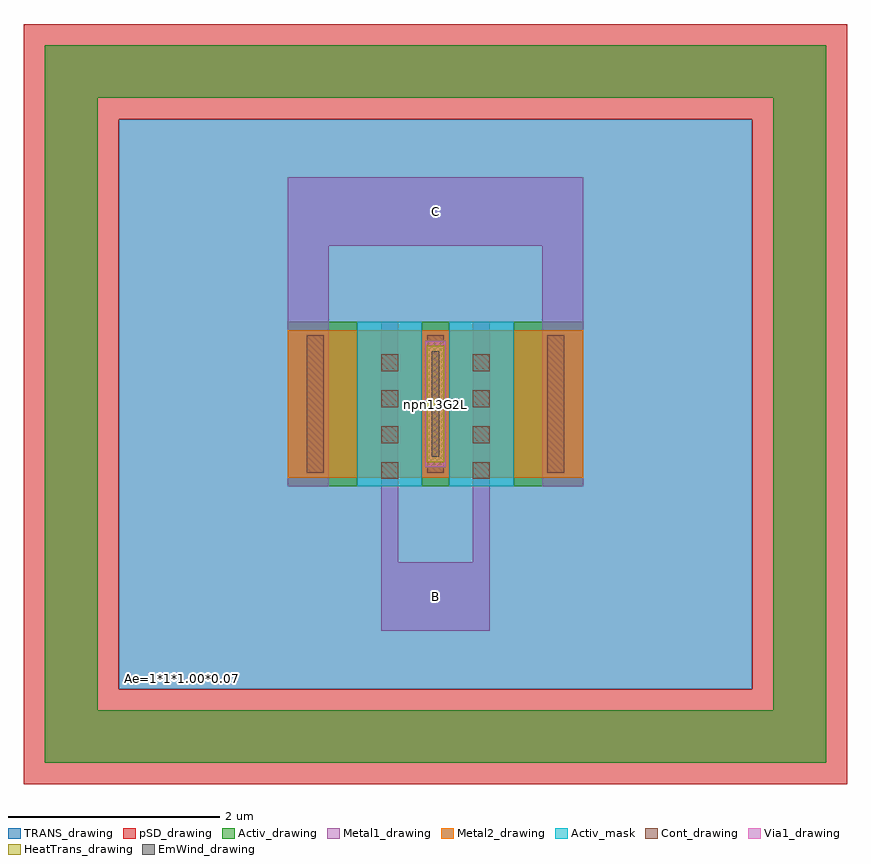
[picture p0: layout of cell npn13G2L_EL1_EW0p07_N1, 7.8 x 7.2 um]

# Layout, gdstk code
import gdstk
lib = gdstk.Library(unit=1e-6, precision=1e-09)
def R(c, l, rs):  # rectangles x0, y0, x1, y1
    for r in rs: c.add(gdstk.rectangle(r[:2], r[2:], *l))
def P(c, l, *ps):  # polygons
    for p in ps: c.add(gdstk.Polygon(p, *l))
Activ_drawing = (1, 0)
Activ_mask = (1, 20)
Cont_drawing = (6, 0)
Metal1_drawing = (8, 0)
Metal2_drawing = (10, 0)
pSD_drawing = (14, 0)
Via1_drawing = (19, 0)
TRANS_drawing = (26, 0)
EmWind_drawing = (33, 0)
HeatTrans_drawing = (51, 0)

rectangle_gdsfactorypcom = lib.new_cell('rectangle_gdsfactorypcomponentspshapesprectangle_S0p07__22f8efe0')
R(rectangle_gdsfactorypcom, EmWind_drawing, [(0,0,0.07,1)])

c_rectangle_gdsfactorypcom = lib.new_cell('rectangle_gdsfactorypcomponentspshapesprectangle_S0p17__d8567825')
R(c_rectangle_gdsfactorypcom, HeatTrans_drawing, [(0,0,0.17,1.1)])

c_rectangle_gdsfactorypcom_ = lib.new_cell('rectangle_gdsfactorypcomponentspshapesprectangle_S0p19__a97d2b67')
R(c_rectangle_gdsfactorypcom_, Via1_drawing, [(0,0,0.19,1.2)])

c_rectangle_gdsfactorypcom__ = lib.new_cell('rectangle_gdsfactorypcomponentspshapesprectangle_S0p61__3fa70da6')
R(c_rectangle_gdsfactorypcom__, Activ_mask, [(0,0,0.61,1.56)])

unnamed_220 = lib.new_cell('Unnamed_220')
R(unnamed_220, Activ_mask, [(3.16,2.82,3.77,4.38), (4.03,2.82,4.64,4.38)])

unnamed_221 = lib.new_cell('Unnamed_221')
R(unnamed_221, Activ_drawing, [(2.5,2.82,3.16,4.38), (3.77,2.82,4.03,4.38), (4.64,2.82,5.3,4.38)])

c_rectangle_gdsfactorypcom___ = lib.new_cell('rectangle_gdsfactorypcomponentspshapesprectangle_S0p16__4e3604c4')
R(c_rectangle_gdsfactorypcom___, Cont_drawing, [(0,0,0.16,1.3)])

c_rectangle_gdsfactorypcom____ = lib.new_cell('rectangle_gdsfactorypcomponentspshapesprectangle_S0p16__bf15bdcd')
R(c_rectangle_gdsfactorypcom____, Cont_drawing, [(0,0,0.16,0.16)])

c_rectangle_gdsfactorypcom_____ = lib.new_cell('rectangle_gdsfactorypcomponentspshapesprectangle_S0p39__b7387acc')
R(c_rectangle_gdsfactorypcom_____, Metal1_drawing, [(0,0,0.39,2.28)])

c_rectangle_gdsfactorypcom______ = lib.new_cell('rectangle_gdsfactorypcomponentspshapesprectangle_S2p8_0_5838c96c')
R(c_rectangle_gdsfactorypcom______, Metal1_drawing, [(0,0,2.8,0.65)])

c_rectangle_gdsfactorypcom_______ = lib.new_cell('rectangle_gdsfactorypcomponentspshapesprectangle_S0p16__c736992b')
R(c_rectangle_gdsfactorypcom_______, Metal1_drawing, [(0,0,0.16,2.28)])

c_rectangle_gdsfactorypcom________ = lib.new_cell('rectangle_gdsfactorypcomponentspshapesprectangle_S1p03__f95aa8fe')
R(c_rectangle_gdsfactorypcom________, Metal1_drawing, [(0,0,1.03,0.65)])

c_rectangle_gdsfactorypcom_________ = lib.new_cell('rectangle_gdsfactorypcomponentspshapesprectangle_S0p26__adb31e84')
R(c_rectangle_gdsfactorypcom_________, Metal1_drawing, [(0,0,0.26,1.4)])

c_rectangle_gdsfactorypcom__________ = lib.new_cell('rectangle_gdsfactorypcomponentspshapesprectangle_S2p8_1_37e99f89')
R(c_rectangle_gdsfactorypcom__________, Metal2_drawing, [(0,0,2.8,1.4)])

c_rectangle_gdsfactorypcom___________ = lib.new_cell('rectangle_gdsfactorypcomponentspshapesprectangle_S6_5p4_4c13944e')
R(c_rectangle_gdsfactorypcom___________, TRANS_drawing, [(0,0,6,5.4)])

unnamed_244 = lib.new_cell('Unnamed_244')
P(unnamed_244, pSD_drawing, [(0,0),(0,6.3),(0.9,6.3),(0.9,0.9),(6.9,0.9),(6.9,6.3),(0,6.3),(0,7.2),(7.8,7.2),(7.8,0)])

unnamed_249 = lib.new_cell('Unnamed_249')
P(unnamed_249, Activ_drawing, [(0.2,0.2),(0.2,6.5),(0.7,6.5),(0.7,0.7),(7.1,0.7),(7.1,6.5),(0.2,6.5),(0.2,7),(7.6,7),(7.6,0.2)])

npn13g2l_el1_ew0p07_n1 = lib.new_cell('npn13G2L_EL1_EW0p07_N1')
npn13g2l_el1_ew0p07_n1.add(gdstk.Reference(rectangle_gdsfactorypcom, (3.865,3.1)))
npn13g2l_el1_ew0p07_n1.add(gdstk.Reference(c_rectangle_gdsfactorypcom, (3.815,3.05)))
npn13g2l_el1_ew0p07_n1.add(gdstk.Reference(c_rectangle_gdsfactorypcom_, (3.805,3)))
npn13g2l_el1_ew0p07_n1.add(gdstk.Reference(c_rectangle_gdsfactorypcom__, (3.16,2.82)))
npn13g2l_el1_ew0p07_n1.add(gdstk.Reference(c_rectangle_gdsfactorypcom__, (4.03,2.82)))
npn13g2l_el1_ew0p07_n1.add(gdstk.Reference(unnamed_220, (0,0)))
npn13g2l_el1_ew0p07_n1.add(gdstk.Reference(unnamed_221, (0,0)))
npn13g2l_el1_ew0p07_n1.add(gdstk.Reference(c_rectangle_gdsfactorypcom___, (2.68,2.95)))
npn13g2l_el1_ew0p07_n1.add(gdstk.Reference(c_rectangle_gdsfactorypcom___, (3.82,2.95)))
npn13g2l_el1_ew0p07_n1.add(gdstk.Reference(c_rectangle_gdsfactorypcom___, (4.96,2.95)))
npn13g2l_el1_ew0p07_n1.add(gdstk.Reference(c_rectangle_gdsfactorypcom____, (3.385,2.89)))
npn13g2l_el1_ew0p07_n1.add(gdstk.Reference(c_rectangle_gdsfactorypcom____, (4.255,2.89)))
npn13g2l_el1_ew0p07_n1.add(gdstk.Reference(c_rectangle_gdsfactorypcom____, (3.385,3.23)))
npn13g2l_el1_ew0p07_n1.add(gdstk.Reference(c_rectangle_gdsfactorypcom____, (4.255,3.23)))
npn13g2l_el1_ew0p07_n1.add(gdstk.Reference(c_rectangle_gdsfactorypcom____, (3.385,3.57)))
npn13g2l_el1_ew0p07_n1.add(gdstk.Reference(c_rectangle_gdsfactorypcom____, (4.255,3.57)))
npn13g2l_el1_ew0p07_n1.add(gdstk.Reference(c_rectangle_gdsfactorypcom____, (3.385,3.91)))
npn13g2l_el1_ew0p07_n1.add(gdstk.Reference(c_rectangle_gdsfactorypcom____, (4.255,3.91)))
npn13g2l_el1_ew0p07_n1.add(gdstk.Reference(c_rectangle_gdsfactorypcom_____, (2.5,2.82)))
npn13g2l_el1_ew0p07_n1.add(gdstk.Reference(c_rectangle_gdsfactorypcom_____, (4.91,2.82)))
npn13g2l_el1_ew0p07_n1.add(gdstk.Reference(c_rectangle_gdsfactorypcom______, (2.5,5.1)))
npn13g2l_el1_ew0p07_n1.add(gdstk.Reference(c_rectangle_gdsfactorypcom______, (2.5,5.1)))
npn13g2l_el1_ew0p07_n1.add(gdstk.Reference(c_rectangle_gdsfactorypcom_______, (3.385,2.1)))
npn13g2l_el1_ew0p07_n1.add(gdstk.Reference(c_rectangle_gdsfactorypcom_______, (4.255,2.1)))
npn13g2l_el1_ew0p07_n1.add(gdstk.Reference(c_rectangle_gdsfactorypcom________, (3.385,1.45)))
npn13g2l_el1_ew0p07_n1.add(gdstk.Reference(c_rectangle_gdsfactorypcom________, (3.385,1.45)))
npn13g2l_el1_ew0p07_n1.add(gdstk.Reference(c_rectangle_gdsfactorypcom_________, (3.77,2.9)))
npn13g2l_el1_ew0p07_n1.add(gdstk.Reference(c_rectangle_gdsfactorypcom__________, (2.5,2.9)))
npn13g2l_el1_ew0p07_n1.add(gdstk.Reference(c_rectangle_gdsfactorypcom__________, (2.5,2.9)))
npn13g2l_el1_ew0p07_n1.add(gdstk.Reference(c_rectangle_gdsfactorypcom___________, (0.9,0.9)))
npn13g2l_el1_ew0p07_n1.add(gdstk.Reference(unnamed_244, (0,0)))
npn13g2l_el1_ew0p07_n1.add(gdstk.Reference(unnamed_249, (0,0)))
npn13g2l_el1_ew0p07_n1.add(gdstk.Label('npn13G2L', (3.9,3.6), layer=51, texttype=0))
npn13g2l_el1_ew0p07_n1.add(gdstk.Label('Ae=1*1*1.00*0.07', (1.5,1), layer=63, texttype=0))
npn13g2l_el1_ew0p07_n1.add(gdstk.Label('npn13G2L', (1.75,1), layer=63, texttype=0))
npn13g2l_el1_ew0p07_n1.add(gdstk.Label('C', (3.9,5.425), layer=63, texttype=0))
npn13g2l_el1_ew0p07_n1.add(gdstk.Label('B', (3.9,1.775), layer=63, texttype=0))
npn13g2l_el1_ew0p07_n1.add(gdstk.Label('E', (3.9,3.6), layer=63, texttype=0))

lib.write_gds('npn13G2L_EL1_EW0p07_N1.gds')
